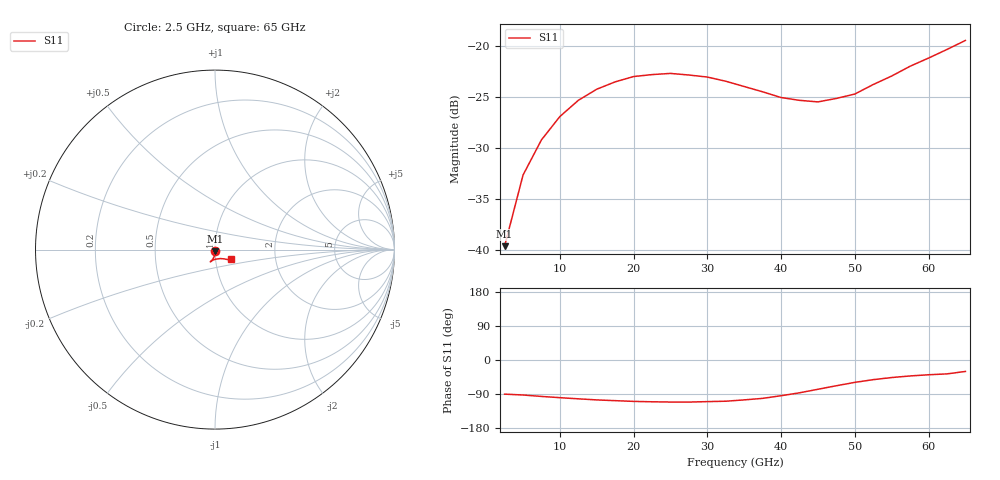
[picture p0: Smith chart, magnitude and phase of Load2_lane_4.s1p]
! File created by SignalIntegrity v1.5.1: Signal and Power Integrity Tools
! https://github.com/Nubis-Communications/SignalIntegrity
# MHz S MA R 50.0
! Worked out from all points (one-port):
!   26 points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, 2.5 GHz to 65 GHz, reference 50 ohm
!   lowest |S11| = -39.6 dB at 2.5 GHz (marker M1), VSWR 1.02, Z = 50 - j1.04 ohm
!   |S11| at or under -10 dB: start of sweep to end of sweep
2500  0.01044 -90.1
5000  0.02328 -92.4
7500  0.03462 -96.1
10000  0.04505 -99.4
12500  0.05407 -102.4
15000  0.0613 -105.3
17500  0.0666 -107.3
20000  0.07071 -109.2
22500  0.07227 -110.3
25000  0.07323 -110.9
27500  0.07192 -111.1
30000  0.0703 -109.8
32500  0.06705 -108.8
35000  0.06318 -105.3
37500  0.05953 -101.2
40000  0.0558 -94.3
42500  0.05406 -86.6
45000  0.05312 -77.2
47500  0.05524 -67.9
50000  0.05803 -59.0
52500  0.06462 -51.8
55000  0.07111 -46.3
57500  0.0794 -42.1
60000  0.08707 -39.0
62500  0.09595 -36.6
65000  0.1062 -30.2
